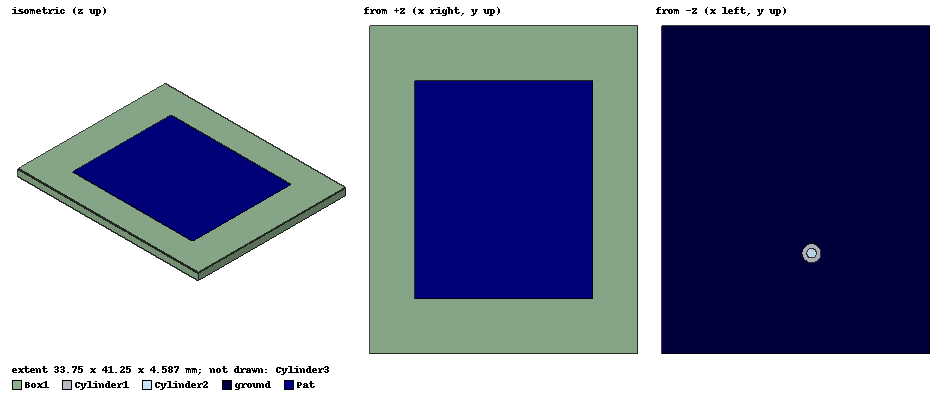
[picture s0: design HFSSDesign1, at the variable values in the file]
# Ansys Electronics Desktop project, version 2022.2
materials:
  vacuum: permittivity=1
  FR4_epoxy: permittivity=4.4 dielectric_loss_tangent=0.02
  Rogers RT/duroid 5880 (tm): permittivity=2.2 dielectric_loss_tangent=0.0009
  pec: conductivity=1e+30

design HFSSDesign1 (HFSS, DrivenTerminal, model units mm)
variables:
  l = 22.5mm
  b = 27.5mm
  h = 1.5875mm
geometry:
  Box1 [Rogers RT/duroid 5880 (tm)] = box(corner=(-1.5*l/2, -1.5*b/2, 0mm), size=(l*1.5, b*1.5, h))
  Pat = rectangle(corner=(-l/2, -b/2, h), x_size=l, y_size=b)
  ground = rectangle(corner=(-1.5*l/2, -1.5*b/2, 0mm), x_size=l*1.5, y_size=b*1.5)
  coordinate_system RelativeCS1 = origin=(-2mm, -8mm, 0mm) x=(1mm, 0mm, 0mm) y=(0mm, 1mm, 0mm)
  Ellipse1 = ellipse(normal=Z, centre=(0mm, 0mm, 0mm), major_radius=1.2mm, ratio=1) in RelativeCS1
  ground.subtract(Ellipse1)
  Cylinder1 [pec] = cylinder(axis=Z, base_centre=(0mm, 0mm, 0mm), radius=1.2mm, height=-3mm) in RelativeCS1
  Cylinder2 [vacuum] = cylinder(axis=Z, base_centre=(0mm, 0mm, 0mm), radius=0.6mm, height=-3mm) in RelativeCS1
  Cylinder3 [vacuum] = cylinder(axis=Z, base_centre=(0mm, 0mm, 0mm), radius=1.2mm, height=-3mm) in RelativeCS1
